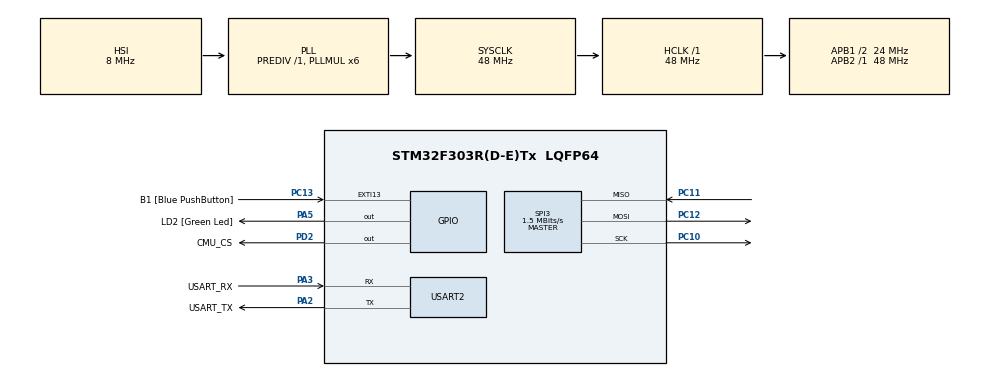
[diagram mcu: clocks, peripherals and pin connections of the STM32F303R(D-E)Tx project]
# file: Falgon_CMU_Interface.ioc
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Mcu.Family=STM32F3
Mcu.Name=STM32F303R(D-E)Tx
Mcu.Package=LQFP64
NVIC.PriorityGroup=NVIC_PRIORITYGROUP_0
NVIC.SPI3_IRQn=true\:0\:0\:false\:false\:true\:true\:true\:true
PA13.GPIO_Label=TMS
PA13.Mode=Serial_Wire
PA13.Signal=SYS_JTMS-SWDIO
PA14.GPIO_Label=TCK
PA14.Mode=Serial_Wire
PA14.Signal=SYS_JTCK-SWCLK
PA2.GPIO_Label=USART_TX
PA2.GPIO_Mode=GPIO_MODE_AF_PP
PA2.GPIO_PuPd=GPIO_NOPULL
PA2.GPIO_Speed=GPIO_SPEED_FREQ_LOW
PA2.Mode=Asynchronous
PA2.Signal=USART2_TX
PA3.GPIO_Label=USART_RX
PA3.GPIO_Mode=GPIO_MODE_AF_PP
PA3.GPIO_PuPd=GPIO_NOPULL
PA3.GPIO_Speed=GPIO_SPEED_FREQ_LOW
PA3.Mode=Asynchronous
PA3.Signal=USART2_RX
PA5.GPIO_Label=LD2 [Green Led]
PA5.GPIO_Mode=GPIO_MODE_OUTPUT_PP
PA5.GPIO_PuPd=GPIO_NOPULL
PA5.GPIO_Speed=GPIO_SPEED_FREQ_LOW
PA5.Signal=GPIO_Output
PB3.GPIO_Label=SWO
PB3.Signal=SYS_JTDO-TRACESWO
PC10.Mode=Full_Duplex_Master
PC10.Signal=SPI3_SCK
PC11.Mode=Full_Duplex_Master
PC11.Signal=SPI3_MISO
PC12.Mode=Full_Duplex_Master
PC12.Signal=SPI3_MOSI
PC13.GPIO_Label=B1 [Blue PushButton]
PC13.GPIO_ModeDefaultEXTI=GPIO_MODE_IT_FALLING
PC13.Signal=GPXTI13
PC14-OSC32_IN.Mode=LSE-External-Oscillator
PC14-OSC32_IN.Signal=RCC_OSC32_IN
PC15-OSC32_OUT.Mode=LSE-External-Oscillator
PC15-OSC32_OUT.Signal=RCC_OSC32_OUT
PD2.GPIO_Label=CMU_CS
PD2.PinState=GPIO_PIN_RESET
PD2.Signal=GPIO_Output
PF0-OSC_IN.Mode=HSE-External-Clock-Source
PF0-OSC_IN.Signal=RCC_OSC_IN
PF1-OSC_OUT.Signal=RCC_OSC_OUT
ProjectManager.HeapSize=0x200
ProjectManager.StackSize=0x400
ProjectManager.TargetToolchain=STM32CubeIDE
RCC.AHBFreq_Value=48000000
RCC.APB1CLKDivider=RCC_HCLK_DIV2
RCC.APB1Freq_Value=24000000
RCC.APB1TimFreq_Value=48000000
RCC.APB2Freq_Value=48000000
RCC.APB2TimFreq_Value=48000000
RCC.CortexFreq_Value=48000000
RCC.HCLKFreq_Value=48000000
RCC.HSE_VALUE=8000000
RCC.HSI_VALUE=8000000
RCC.PLLM=8
RCC.PLLMUL=RCC_PLL_MUL6
RCC.PLLN=336
RCC.PLLP=RCC_PLLP_DIV4
RCC.PLLQ=7
RCC.RCC_PLLsource_Clock_Source_FROM_HSE=RCC_HSE_PREDIV_DIV2
RCC.SYSCLKFreq_VALUE=48000000
RCC.SYSCLKSourceVirtual=RCC_SYSCLKSOURCE_PLLCLK
RCC.USBFreq_Value=48000000
SPI3.BaudRatePrescaler=SPI_BAUDRATEPRESCALER_16
SPI3.CLKPhase=SPI_PHASE_1EDGE
SPI3.CalculateBaudRate=1.5 MBits/s
SPI3.DataSize=SPI_DATASIZE_8BIT
SPI3.Direction=SPI_DIRECTION_2LINES
SPI3.Mode=SPI_MODE_MASTER
SPI3.VirtualType=VM_MASTER
USART2.VirtualMode-Asynchronous=VM_ASYNC
board=NUCLEO-F303RE

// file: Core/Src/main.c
/* USER CODE BEGIN Header */
/**
  ******************************************************************************
  * @file           : main.c
  * @brief          : Main program body
  ******************************************************************************
  * @attention
  *
  * Copyright (c) 2024 STMicroelectronics.
  * All rights reserved.
  *
  * This software is licensed under terms that can be found in the LICENSE file
  * in the root directory of this software component.
  * If no LICENSE file comes with this software, it is provided AS-IS.
  *
  ******************************************************************************
  */
/* USER CODE END Header */
#include "main.h"

/* USER CODE BEGIN Includes */
#include "BQ76942.h"
/* USER CODE END Includes */

SPI_HandleTypeDef hspi3;

UART_HandleTypeDef huart2;

/* USER CODE BEGIN PV */
uint8_t data_to_read[4];  // Buffer to store received data
/* USER CODE END PV */

void SystemClock_Config(void);
static void MX_GPIO_Init(void);
static void MX_SPI3_Init(void);
static void MX_USART2_UART_Init(void);

int main(void)
{

  /* MCU Configuration--------------------------------------------------------*/

  /* Reset of all peripherals, Initializes the Flash interface and the Systick. */
  HAL_Init();

  /* Configure the system clock */
  SystemClock_Config();

  /* Initialize all configured peripherals */
  MX_GPIO_Init();
  MX_SPI3_Init();
  MX_USART2_UART_Init();
  /* USER CODE BEGIN 2 */
  HAL_GPIO_WritePin(CMU_CS_GPIO_Port,CMU_CS_Pin,1);
  handle_command_only_subcommands(BQ769x2_RESET); // reset BQ769x2 chip
  HAL_Delay(600);
  BQ769x2_Init();  // Configure all of the BQ769x2 register settings
  HAL_Delay(600);
  handle_command_only_subcommands(FET_ENABLE); // Enable the CHG and DSG FETs
  HAL_Delay(100);
  handle_command_only_subcommands(SLEEP_DISABLE); // Sleep mode is enabled by default. For this example, Sleep is disabled to
    									   // demonstrate full-speed measurements in Normal mode.
  HAL_Delay(100);
  BQ769x2_WriteCellBalance(0x0070);
  HAL_Delay(20);
  BQ769x2_WriteCellBalance(0x0070);
  HAL_Delay(20);
  /* USER CODE END 2 */

  /* Infinite loop */
  while (1)
  {

    /* USER CODE BEGIN 3 */

	 // BQ7694203_ReadMultiple(0x14, data_to_read,1);
	 // SPI_TransmitReceive_CRC(0x7f, 0xff, &data_to_read);
	  //SPI_ReadWithCRC(0x12,&data_to_read);
	  BQ769x2_ReadAllVoltages(); //Read all available voltages
	  HAL_Delay(5);
	  BQ769x2_ReadCellBalance();   //Read active cell being balanced
	  HAL_Delay(1000);
  }
  /* USER CODE END 3 */
}

void SystemClock_Config(void)
{
  RCC_OscInitTypeDef RCC_OscInitStruct = {0};
  RCC_ClkInitTypeDef RCC_ClkInitStruct = {0};
  RCC_PeriphCLKInitTypeDef PeriphClkInit = {0};

  /** Initializes the RCC Oscillators according to the specified parameters
  * in the RCC_OscInitTypeDef structure.
  */
  RCC_OscInitStruct.OscillatorType = RCC_OSCILLATORTYPE_HSI;
  RCC_OscInitStruct.HSIState = RCC_HSI_ON;
  RCC_OscInitStruct.HSICalibrationValue = RCC_HSICALIBRATION_DEFAULT;
  RCC_OscInitStruct.PLL.PLLState = RCC_PLL_ON;
  RCC_OscInitStruct.PLL.PLLSource = RCC_PLLSOURCE_HSI;
  RCC_OscInitStruct.PLL.PLLMUL = RCC_PLL_MUL6;
  RCC_OscInitStruct.PLL.PREDIV = RCC_PREDIV_DIV1;
  if (HAL_RCC_OscConfig(&RCC_OscInitStruct) != HAL_OK)
  {
    Error_Handler();
  }

  /** Initializes the CPU, AHB and APB buses clocks
  */
  RCC_ClkInitStruct.ClockType = RCC_CLOCKTYPE_HCLK|RCC_CLOCKTYPE_SYSCLK
                              |RCC_CLOCKTYPE_PCLK1|RCC_CLOCKTYPE_PCLK2;
  RCC_ClkInitStruct.SYSCLKSource = RCC_SYSCLKSOURCE_PLLCLK;
  RCC_ClkInitStruct.AHBCLKDivider = RCC_SYSCLK_DIV1;
  RCC_ClkInitStruct.APB1CLKDivider = RCC_HCLK_DIV2;
  RCC_ClkInitStruct.APB2CLKDivider = RCC_HCLK_DIV1;

  if (HAL_RCC_ClockConfig(&RCC_ClkInitStruct, FLASH_LATENCY_1) != HAL_OK)
  {
    Error_Handler();
  }
  PeriphClkInit.PeriphClockSelection = RCC_PERIPHCLK_USART2;
  PeriphClkInit.Usart2ClockSelection = RCC_USART2CLKSOURCE_PCLK1;
  if (HAL_RCCEx_PeriphCLKConfig(&PeriphClkInit) != HAL_OK)
  {
    Error_Handler();
  }
}

static void MX_SPI3_Init(void)
{

  /* SPI3 parameter configuration*/
  hspi3.Instance = SPI3;
  hspi3.Init.Mode = SPI_MODE_MASTER;
  hspi3.Init.Direction = SPI_DIRECTION_2LINES;
  hspi3.Init.DataSize = SPI_DATASIZE_8BIT;
  hspi3.Init.CLKPolarity = SPI_POLARITY_LOW;
  hspi3.Init.CLKPhase = SPI_PHASE_1EDGE;
  hspi3.Init.NSS = SPI_NSS_SOFT;
  hspi3.Init.BaudRatePrescaler = SPI_BAUDRATEPRESCALER_16;
  hspi3.Init.FirstBit = SPI_FIRSTBIT_MSB;
  hspi3.Init.TIMode = SPI_TIMODE_DISABLE;
  hspi3.Init.CRCCalculation = SPI_CRCCALCULATION_DISABLE;
  hspi3.Init.CRCPolynomial = 7;
  hspi3.Init.CRCLength = SPI_CRC_LENGTH_DATASIZE;
  hspi3.Init.NSSPMode = SPI_NSS_PULSE_ENABLE;
  if (HAL_SPI_Init(&hspi3) != HAL_OK)
  {
    Error_Handler();
  }

}

static void MX_USART2_UART_Init(void)
{

  huart2.Instance = USART2;
  huart2.Init.BaudRate = 38400;
  huart2.Init.WordLength = UART_WORDLENGTH_8B;
  huart2.Init.StopBits = UART_STOPBITS_1;
  huart2.Init.Parity = UART_PARITY_NONE;
  huart2.Init.Mode = UART_MODE_TX_RX;
  huart2.Init.HwFlowCtl = UART_HWCONTROL_NONE;
  huart2.Init.OverSampling = UART_OVERSAMPLING_16;
  huart2.Init.OneBitSampling = UART_ONE_BIT_SAMPLE_DISABLE;
  huart2.AdvancedInit.AdvFeatureInit = UART_ADVFEATURE_NO_INIT;
  if (HAL_UART_Init(&huart2) != HAL_OK)
  {
    Error_Handler();
  }

}

static void MX_GPIO_Init(void)
{
  GPIO_InitTypeDef GPIO_InitStruct = {0};

  /* GPIO Ports Clock Enable */
  __HAL_RCC_GPIOC_CLK_ENABLE();
  __HAL_RCC_GPIOF_CLK_ENABLE();
  __HAL_RCC_GPIOA_CLK_ENABLE();
  __HAL_RCC_GPIOD_CLK_ENABLE();
  __HAL_RCC_GPIOB_CLK_ENABLE();

  /*Configure GPIO pin Output Level */
  HAL_GPIO_WritePin(LD2_GPIO_Port, LD2_Pin, GPIO_PIN_RESET);

  /*Configure GPIO pin Output Level */
  HAL_GPIO_WritePin(CMU_CS_GPIO_Port, CMU_CS_Pin, GPIO_PIN_RESET);

  /*Configure GPIO pin : B1_Pin */
  GPIO_InitStruct.Pin = B1_Pin;
  GPIO_InitStruct.Mode = GPIO_MODE_IT_FALLING;
  GPIO_InitStruct.Pull = GPIO_NOPULL;
  HAL_GPIO_Init(B1_GPIO_Port, &GPIO_InitStruct);

  /*Configure GPIO pin : LD2_Pin */
  GPIO_InitStruct.Pin = LD2_Pin;
  GPIO_InitStruct.Mode = GPIO_MODE_OUTPUT_PP;
  GPIO_InitStruct.Pull = GPIO_NOPULL;
  GPIO_InitStruct.Speed = GPIO_SPEED_FREQ_LOW;
  HAL_GPIO_Init(LD2_GPIO_Port, &GPIO_InitStruct);

  /*Configure GPIO pin : CMU_CS_Pin */
  GPIO_InitStruct.Pin = CMU_CS_Pin;
  GPIO_InitStruct.Mode = GPIO_MODE_OUTPUT_PP;
  GPIO_InitStruct.Pull = GPIO_NOPULL;
  GPIO_InitStruct.Speed = GPIO_SPEED_FREQ_LOW;
  HAL_GPIO_Init(CMU_CS_GPIO_Port, &GPIO_InitStruct);

}

void Error_Handler(void)
{
  __disable_irq();
  while (1)
  {
  }
}
